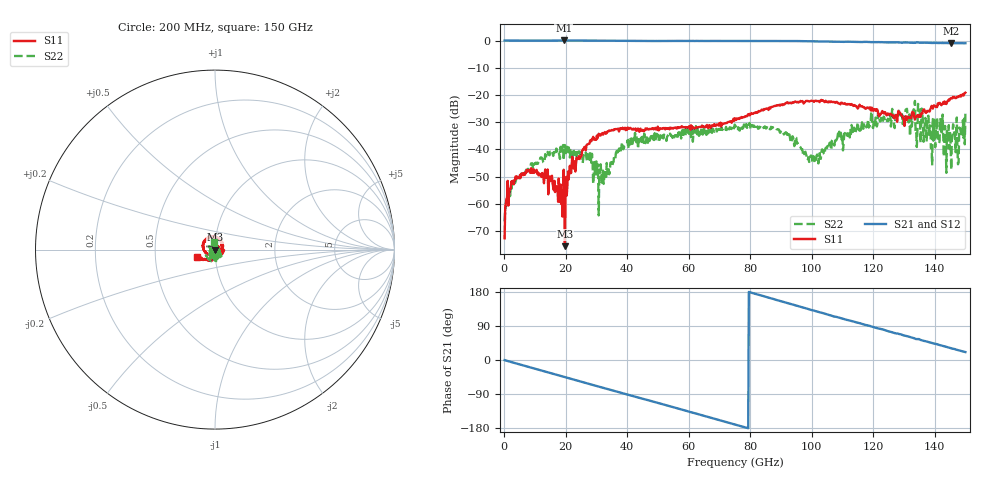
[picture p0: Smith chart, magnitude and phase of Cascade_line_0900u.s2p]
!  2-Port S-parameters saved by WinCal
! VAR MeasName=S-Parameters (CALIBRATED_DATA) read from VNA (MS4647B)
! VAR MeasDate=16-Sep-21 11:37:52
! VAR NAME=7ps_900u
! VAR FILENAME=7ps_900u.S2P
! VAR DATE=16-Sep-21 11:37:52
! VAR PHYS_PORTS=1,2
! VAR ObjTypeName=DATASET
! VAR IndexType=Frequency
# Hz S RI R 50
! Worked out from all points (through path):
!   750 points, 200 MHz to 150 GHz, reference 50 ohm
!   highest |S21| = 0.02 dB at 19.4 GHz (marker M1); lowest = -1.0 dB at 145.4 GHz (marker M2)
!   group delay of S21, straight-line fit = 6.3 ps
!   lowest |S11| = -75.6 dB at 19.8 GHz (marker M3), VSWR 1.00, Z = 50 + j0.00275 ohm
!   |S11| at or under -10 dB: start of sweep to end of sweep
!   |S22| runs from -66.5 to -22.2 dB; largest |S21 - S12| = 0.037
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2e8  0.000231 1.05e-05  0.9999 -0.00702  0.9993 -0.00768  0.000364 0.000302
1e9  0.000711 0.0011  0.9992 -0.0403  0.9987 -0.0412  0.000915 0.000722
2.4e9  0.00194 0.00167  0.9938 -0.0955  0.9934 -0.0954  0.00126 0.00139
7.6e9  0.00349 0.00179  0.951 -0.2961  0.9518 -0.2957  0.00406 -3.35e-05
1.52e10  0.00185 0.00182  0.8231 -0.5642  0.8231 -0.5635  0.00691 -0.00541
1.94e10  -0.00292 0.00303  0.7212 -0.6964  0.7225 -0.6972  0.00308 -0.00545
1.98e10  0.000163 2.75e-05  0.7089 -0.7083  0.7106 -0.7088  0.005 -0.0109
2.18e10  -0.00191 0.00311  0.6487 -0.7635  0.6484 -0.7598  0.00213 -0.00995
2.52e10  -0.00373 0.0066  0.5366 -0.8406  0.5376 -0.8392  0.00249 -0.00759
3.14e10  0.0011 0.018  0.3114 -0.9388  0.308 -0.9412  0.00307 -0.00434
3.78e10  0.014 0.0202  0.0681 -0.9809  0.0617 -0.9819  0.00951 -0.00623
5.02e10  0.0219 0.00454  -0.394 -0.8993  -0.3992 -0.8969  0.00429 -0.0171
7.52e10  -0.0166 -0.0311  -0.9695 -0.164  -0.9691 -0.1537  -0.00762 -0.0262
8.88e10  -0.0648 -0.000466  -0.9122 0.3682  -0.9096 0.3756  -0.02 -0.012
1.002e11  -0.0472 0.0615  -0.6427 0.7276  -0.6372 0.7316  0.00134 0.00577
1.252e11  0.0418 0.0126  0.2379 0.8941  0.2441 0.8968  0.0264 -0.0332
1.33e11  0.0163 -0.0439  0.4761 0.7684  0.4917 0.7569  0.0163 -0.0491
1.39e11  -0.0161 -0.0607  0.6375 0.6384  0.6523 0.6301  -0.011 -0.00135
1.422e11  -0.0376 -0.0525  0.7065 0.5562  0.7201 0.5427  -0.0184 -0.00914
1.454e11  -0.0658 -0.0583  0.7632 0.4552  0.7772 0.4487  -0.00406 0.00105
1.48e11  -0.0818 -0.0466  0.8058 0.3841  0.8107 0.3722  -0.0232 0.00943
1.5e11  -0.102 -0.0412  0.8327 0.3187  0.8359 0.304  -0.00519 0.0448
